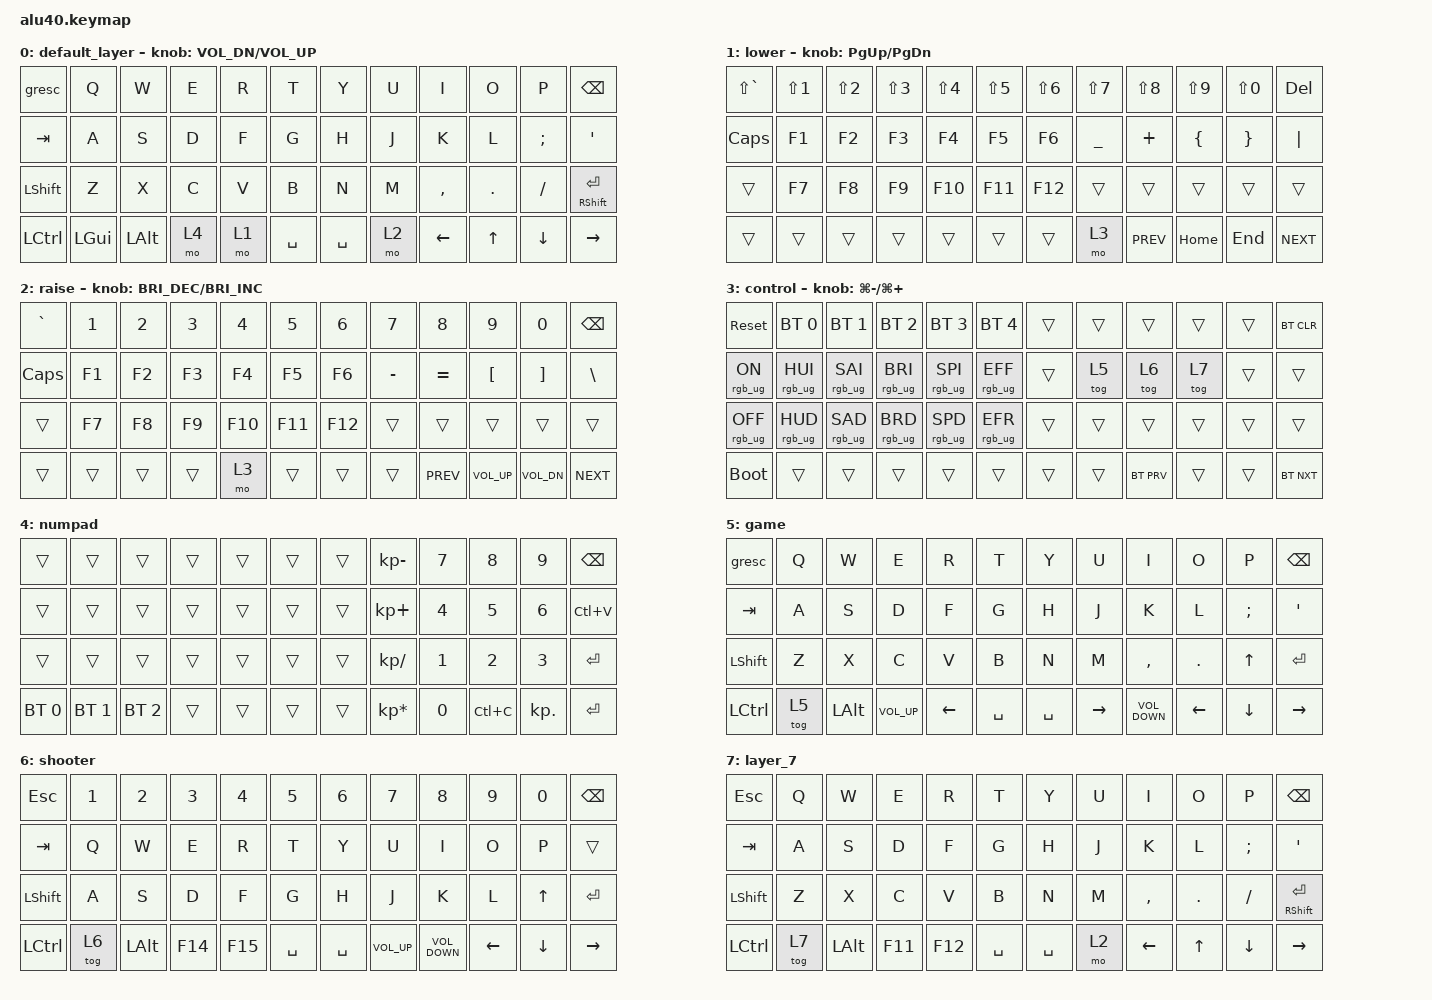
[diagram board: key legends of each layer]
/*
 * Copyright (c) 2022 The ZMK Contributors
 *
 * SPDX-License-Identifier: MIT
 */

#include <behaviors.dtsi>
#include <dt-bindings/zmk/bt.h>
#include <dt-bindings/zmk/keys.h>
#include <dt-bindings/zmk/rgb.h>

/ {
    keymap {
        compatible = "zmk,keymap";

        default_layer {
            // -----------------------------------------------------------------------------------------
            // | ESC/~ |  Q   |  W   |  E   |  R   |  T   |   Y   |  U    |  I   |  O   |   P   | BSPC  |
            // | TAB   |  A   |  S   |  D   |  F   |  G   |   H   |  J    |  K   |  L   |   ;   |  '    |
            // | SHIFT |  Z   |  X   |  C   |  V   |  B   |   N   |  M    |  ,   |  .   |   /   |RET/SFT|
            // | PLAY  | LCTL | LALT | LGUI | LOWR |     SPACE    |  RAIS | LARW | UARW | DARW  |  RARW |

            bindings = <
&gresc     &kp Q         &kp W     &kp E  &kp R  &kp T      &kp Y      &kp U  &kp I      &kp O    &kp P     &kp BSPC
&kp TAB    &kp A         &kp S     &kp D  &kp F  &kp G      &kp H      &kp J  &kp K      &kp L    &kp SEMI  &kp SQT
&kp LSHFT  &kp Z         &kp X     &kp C  &kp V  &kp B      &kp N      &kp M  &kp COMMA  &kp DOT  &kp FSLH  &mt RSHFT RET
&kp LCTRL  &kp LEFT_GUI  &kp LALT  &mo 4  &mo 1  &kp SPACE  &kp SPACE  &mo 2  &kp LEFT   &kp UP   &kp DOWN  &kp RIGHT
            >;

            sensor-bindings = <&inc_dec_kp C_VOL_DN C_VOL_UP>;
        };

        lower {
            bindings = <
&kp LS(GRAVE)  &kp LS(N1)  &kp LS(N2)  &kp LS(N3)  &kp LS(N4)  &kp LS(N5)  &kp LS(N6)  &kp LS(N7)  &kp LS(N8)  &kp LS(N9)  &kp LS(N0)  &kp DEL
&kp CLCK       &kp F1      &kp F2      &kp F3      &kp F4      &kp F5      &kp F6      &kp UNDER   &kp PLUS    &kp LBRC    &kp RBRC    &kp PIPE
&trans         &kp F7      &kp F8      &kp F9      &kp F10     &kp F11     &kp F12     &trans      &trans      &trans      &trans      &trans
&trans         &trans      &trans      &trans      &trans      &trans      &trans      &mo 3       &kp C_PREV  &kp HOME    &kp END     &kp C_NEXT
            >;

            sensor-bindings = <&inc_dec_kp PG_UP PG_DN>;
        };

        raise {
            bindings = <
&kp GRAVE  &kp N1  &kp N2  &kp N3  &kp N4   &kp N5   &kp N6   &kp N7     &kp N8      &kp N9        &kp N0        &kp BSPC
&kp CLCK   &kp F1  &kp F2  &kp F3  &kp F4   &kp F5   &kp F6   &kp MINUS  &kp EQUAL   &kp LBKT      &kp RBKT      &kp BSLH
&trans     &kp F7  &kp F8  &kp F9  &kp F10  &kp F11  &kp F12  &trans     &trans      &trans        &trans        &trans
&trans     &trans  &trans  &trans  &mo 3    &trans   &trans   &trans     &kp C_PREV  &kp C_VOL_UP  &kp C_VOL_DN  &kp C_NEXT
            >;

            sensor-bindings = <&inc_dec_kp C_BRI_DEC C_BRI_INC>;
        };

        control {
            bindings = <
&sys_reset       &bt BT_SEL 0     &bt BT_SEL 1     &bt BT_SEL 2     &bt BT_SEL 3     &bt BT_SEL 4     &trans  &trans  &trans      &trans  &trans  &bt BT_CLR
&rgb_ug RGB_ON   &rgb_ug RGB_HUI  &rgb_ug RGB_SAI  &rgb_ug RGB_BRI  &rgb_ug RGB_SPI  &rgb_ug RGB_EFF  &trans  &tog 5  &tog 6      &tog 7  &trans  &trans
&rgb_ug RGB_OFF  &rgb_ug RGB_HUD  &rgb_ug RGB_SAD  &rgb_ug RGB_BRD  &rgb_ug RGB_SPD  &rgb_ug RGB_EFR  &trans  &trans  &trans      &trans  &trans  &trans
&bootloader      &trans           &trans           &trans           &trans           &trans           &trans  &trans  &bt BT_PRV  &trans  &trans  &bt BT_NXT
            >;

            sensor-bindings = <&inc_dec_kp LG(MINUS) LG(PLUS)>;
        };

        numpad {
            bindings = <
&trans        &trans        &trans        &trans  &trans  &trans  &trans  &kp KP_MINUS     &kp N7  &kp N8     &kp N9      &kp BSPC
&trans        &trans        &trans        &trans  &trans  &trans  &trans  &kp KP_PLUS      &kp N4  &kp N5     &kp N6      &kp LC(V)
&trans        &trans        &trans        &trans  &trans  &trans  &trans  &kp KP_DIVIDE    &kp N1  &kp N2     &kp N3      &kp RET
&bt BT_SEL 0  &bt BT_SEL 1  &bt BT_SEL 2  &trans  &trans  &trans  &trans  &kp KP_MULTIPLY  &kp N0  &kp LC(C)  &kp KP_DOT  &kp ENTER
            >;
        };

        game {
            bindings = <
&gresc     &kp Q   &kp W     &kp E            &kp R     &kp T      &kp Y      &kp U      &kp I              &kp O     &kp P     &kp BSPC
&kp TAB    &kp A   &kp S     &kp D            &kp F     &kp G      &kp H      &kp J      &kp K              &kp L     &kp SEMI  &kp SQT
&kp LSHFT  &kp Z   &kp X     &kp C            &kp V     &kp B      &kp N      &kp M      &kp COMMA          &kp DOT   &kp UP    &kp RET
&kp LCTRL  &tog 5  &kp LALT  &kp C_VOLUME_UP  &kp LEFT  &kp SPACE  &kp SPACE  &kp RIGHT  &kp C_VOLUME_DOWN  &kp LEFT  &kp DOWN  &kp RIGHT
            >;
        };

        shooter {
            bindings = <
&kp ESC    &kp N1  &kp N2    &kp N3   &kp N4   &kp N5     &kp N6     &kp N7           &kp N8             &kp N9    &kp N0    &kp BSPC
&kp TAB    &kp Q   &kp W     &kp E    &kp R    &kp T      &kp Y      &kp U            &kp I              &kp O     &kp P     &trans
&kp LSHFT  &kp A   &kp S     &kp D    &kp F    &kp G      &kp H      &kp J            &kp K              &kp L     &kp UP    &kp ENTER
&kp LCTRL  &tog 6  &kp LALT  &kp F14  &kp F15  &kp SPACE  &kp SPACE  &kp C_VOLUME_UP  &kp C_VOLUME_DOWN  &kp LEFT  &kp DOWN  &kp RIGHT
            >;
        };

        layer_7 {
            bindings = <
&kp ESC    &kp Q   &kp W     &kp E    &kp R    &kp T      &kp Y      &kp U  &kp I      &kp O    &kp P     &kp BSPC
&kp TAB    &kp A   &kp S     &kp D    &kp F    &kp G      &kp H      &kp J  &kp K      &kp L    &kp SEMI  &kp SQT
&kp LSHFT  &kp Z   &kp X     &kp C    &kp V    &kp B      &kp N      &kp M  &kp COMMA  &kp DOT  &kp FSLH  &mt RSHIFT ENTER
&kp LCTRL  &tog 7  &kp LALT  &kp F11  &kp F12  &kp SPACE  &kp SPACE  &mo 2  &kp LEFT   &kp UP   &kp DOWN  &kp RIGHT
            >;
        };
    };
};
